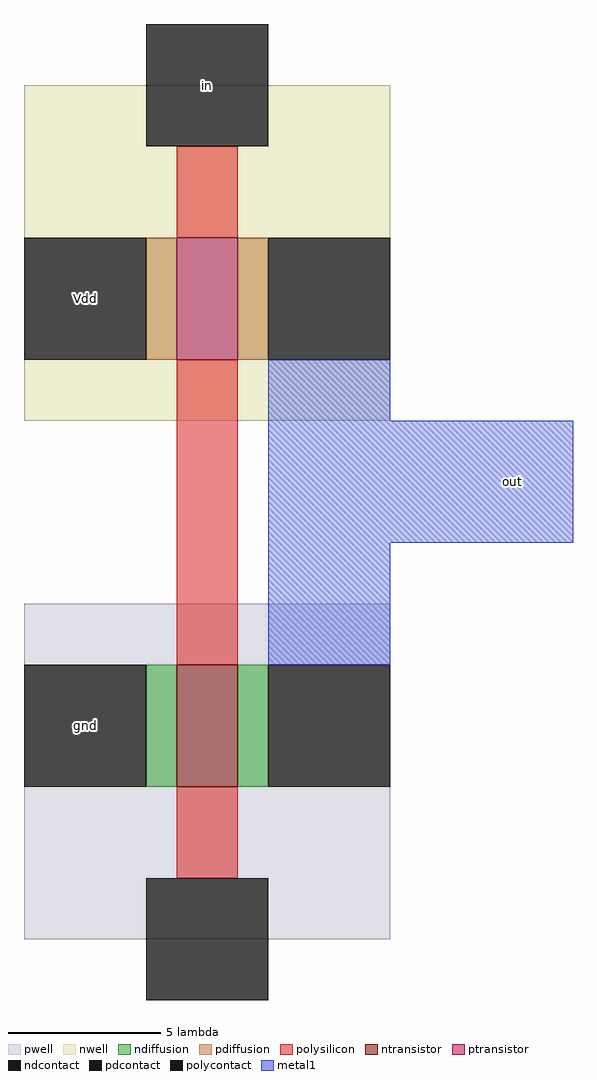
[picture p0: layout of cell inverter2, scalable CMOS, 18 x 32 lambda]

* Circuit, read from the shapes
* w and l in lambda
.subckt inverter2 Vdd gnd in out
M1 out in gnd VSUBS nfet w=4 l=2
M2 out in Vdd n1 pfet w=4 l=2
.ends

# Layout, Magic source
magic
tech scmos
<< pwell >>
rect -54 -42 -42 -31
<< nwell >>
rect -54 -25 -42 -14
<< polysilicon >>
rect -49 -19 -47 -16
rect -49 -33 -47 -23
rect -49 -40 -47 -37
<< ndiffusion >>
rect -50 -37 -49 -33
rect -47 -37 -46 -33
<< pdiffusion >>
rect -50 -23 -49 -19
rect -47 -23 -46 -19
<< metal1 >>
rect -46 -25 -42 -23
rect -46 -29 -36 -25
rect -46 -33 -42 -29
<< ntransistor >>
rect -49 -37 -47 -33
<< ptransistor >>
rect -49 -23 -47 -19
<< polycontact >>
rect -50 -16 -46 -12
rect -50 -44 -46 -40
<< ndcontact >>
rect -54 -37 -50 -33
rect -46 -37 -42 -33
<< pdcontact >>
rect -54 -23 -50 -19
rect -46 -23 -42 -19
<< labels >>
rlabel ndcontact -54 -37 -50 -33 3 gnd
rlabel pdcontact -54 -23 -50 -19 3 Vdd
rlabel polycontact -50 -16 -46 -12 1 in
rlabel metal1 -40 -29 -36 -25 7 out
<< end >>
